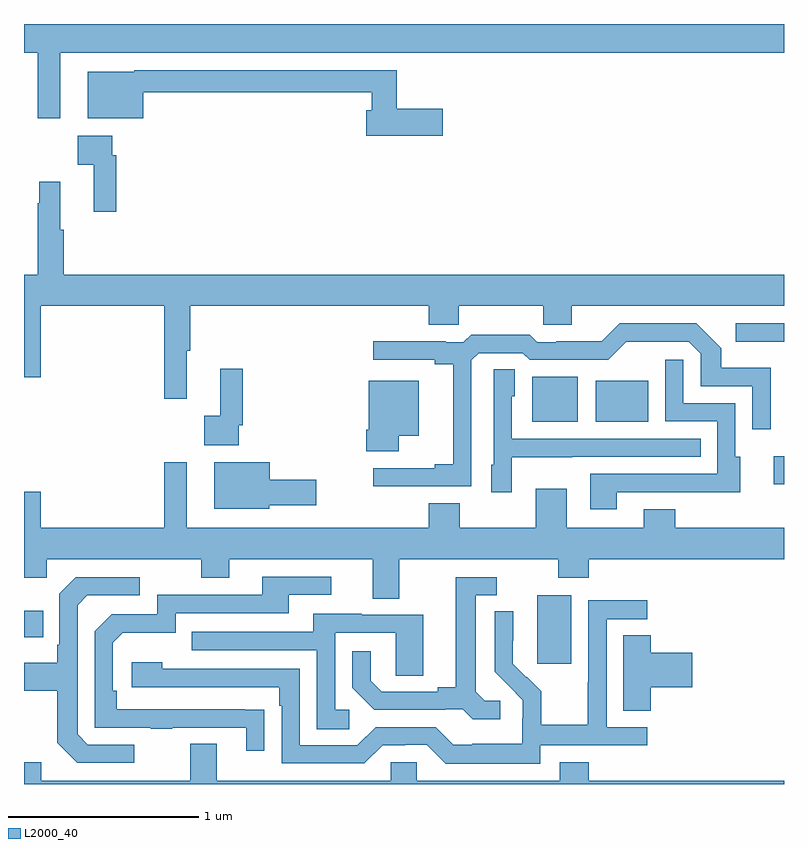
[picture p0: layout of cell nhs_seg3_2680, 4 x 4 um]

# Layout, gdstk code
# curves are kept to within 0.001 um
import gdstk
lib = gdstk.Library(unit=1e-6, precision=1e-09)
def R(c, l, rs):  # rectangles x0, y0, x1, y1
    for r in rs: c.add(gdstk.rectangle(r[:2], r[2:], *l))
def P(c, l, *ps):  # polygons
    for p in ps: c.add(gdstk.Polygon(p, *l))
L2000_40 = (2000, 40)

nhs_seg3_2680 = lib.new_cell('nhs_seg3_2680')
R(nhs_seg3_2680, L2000_40, [(251.702,699.033,251.881,699.394), (249,699.173,249.101,699.313), (252.945,699.978,253,700.126), (251.675,700.307,251.914,700.543), (252.008,700.307,252.286,700.522), (252.747,700.727,253,700.824)])
P(nhs_seg3_2680, L2000_40, [(249.19,702.248),(253,702.248),(253,702.4),(249,702.4),(249,702.248),(249.073,702.248),(249.073,701.904),(249.19,701.904)],
  [(251.203,701.955),(250.961,701.955),(250.961,702.156),(249.579,702.156),(249.579,702.148),(249.335,702.148),(249.335,701.903),(249.628,701.903),(249.628,702.04),(250.829,702.04),(250.829,701.947),(250.802,701.947),(250.802,701.813),(251.203,701.813)],
  [(249.485,701.708),(249.465,701.708),(249.465,701.812),(249.282,701.812),(249.282,701.66),(249.368,701.66),(249.368,701.412),(249.485,701.412)],
  [(249.857,700.68),(249.875,700.68),(249.875,700.916),(251.129,700.916),(251.129,700.818),(251.289,700.818),(251.289,700.916),(251.734,700.916),(251.734,700.818),(251.884,700.818),(251.884,700.916),(253,700.916),(253,701.08),(249.209,701.08),(249.209,701.316),(249.191,701.316),(249.191,701.569),(249.081,701.569),(249.081,701.456),(249.073,701.456),(249.073,701.08),(249,701.08),(249,700.542),(249.088,700.542),(249.088,700.916),(249.739,700.916),(249.739,700.428),(249.857,700.428)],
  [(251.355,700.629),(251.394,700.668),(251.625,700.668),(251.661,700.632),(252.075,700.632),(252.17,700.727),(252.498,700.728),(252.561,700.665),(252.561,700.494),(252.834,700.494),(252.834,700.266),(252.93,700.266),(252.93,700.591),(252.669,700.591),(252.669,700.694),(252.538,700.824),(252.135,700.824),(252.041,700.73),(251.8,700.73),(251.8,700.725),(251.7,700.725),(251.661,700.765),(251.353,700.765),(251.313,700.725),(251.219,700.725),(251.219,700.73),(250.839,700.73),(250.839,700.632),(251.162,700.632),(251.162,700.61),(251.258,700.61),(251.258,700.082),(251.162,700.082),(251.162,700.062),(250.839,700.062),(250.839,699.966),(251.355,699.966)],
  [(252.121,699.936),(252.551,699.936),(252.551,699.935),(252.769,699.935),(252.769,700.122),(252.744,700.122),(252.744,700.404),(252.471,700.404),(252.471,700.633),(252.375,700.633),(252.375,700.308),(252.648,700.308),(252.648,700.032),(251.981,700.032),(251.981,699.846),(252.121,699.846)],
  [(250.131,700.288),(250.151,700.288),(250.151,700.585),(250.034,700.585),(250.034,700.337),(249.948,700.337),(249.948,700.184),(250.131,700.184)],
  [(251.568,700.121),(251.885,700.121),(251.885,700.122),(252.563,700.122),(252.563,700.218),(251.568,700.218),(251.568,700.44),(251.584,700.44),(251.584,700.583),(251.472,700.583),(251.472,700.08),(251.459,700.08),(251.459,699.936),(251.568,699.936)],
  [(250.972,700.232),(251.077,700.232),(251.077,700.522),(250.814,700.522),(250.814,700.264),(250.802,700.264),(250.802,700.152),(250.972,700.152)],
  [(250.975,699.584),(251.812,699.584),(251.812,699.485),(251.972,699.485),(251.972,699.584),(253,699.584),(253,699.748),(252.427,699.748),(252.427,699.847),(252.263,699.847),(252.263,699.748),(251.857,699.748),(251.857,699.955),(251.693,699.955),(251.693,699.748),(251.293,699.748),(251.293,699.877),(251.129,699.877),(251.129,699.748),(249.856,699.748),(249.856,700.093),(249.739,700.093),(249.739,699.748),(249.088,699.748),(249.088,699.937),(249,699.937),(249,699.485),(249.12,699.485),(249.12,699.584),(249.934,699.584),(249.934,699.485),(250.081,699.485),(250.081,699.584),(250.835,699.584),(250.835,699.376),(250.975,699.376)],
  [(250.29,699.866),(250.537,699.866),(250.537,700.001),(250.294,700.001),(250.294,700.093),(250.001,700.093),(250.001,699.848),(250.29,699.848)],
  [(250.265,698.792),(249.488,698.793),(249.488,698.89),(249.468,698.89),(249.468,699.144),(249.521,699.197),(249.798,699.197),(249.798,699.3),(250.393,699.3),(250.393,699.396),(250.618,699.396),(250.618,699.492),(250.253,699.492),(250.253,699.396),(249.702,699.396),(249.702,699.294),(249.462,699.294),(249.372,699.204),(249.372,698.697),(249.667,698.697),(249.667,698.692),(249.779,698.692),(249.779,698.697),(250.169,698.697),(250.169,698.574),(250.265,698.574)],
  [(249.58,698.607),(249.336,698.607),(249.282,698.661),(249.282,699.342),(249.333,699.393),(249.61,699.393),(249.61,699.489),(249.273,699.489),(249.186,699.402),(249.186,699.133),(249.174,699.133),(249.174,699.037),(249,699.037),(249,698.89),(249.174,698.89),(249.174,698.617),(249.279,698.511),(249.58,698.511)],
  [(251.506,698.838),(251.424,698.838),(251.377,698.885),(251.377,699.393),(251.488,699.393),(251.488,699.489),(251.273,699.489),(251.273,698.909),(251.177,698.909),(251.177,698.886),(250.882,698.886),(250.825,698.943),(250.825,699.1),(250.728,699.1),(250.728,698.906),(250.844,698.79),(251.216,698.79),(251.216,698.793),(251.31,698.793),(251.362,698.741),(251.506,698.741)],
  [(251.718,698.604),(252.28,698.604),(252.28,698.7),(252.066,698.7),(252.066,699.267),(252.28,699.267),(252.28,699.366),(251.97,699.366),(251.97,698.936),(251.968,698.936),(251.968,698.713),(251.723,698.713),(251.723,698.887),(251.646,698.964),(251.643,698.961),(251.573,699.032),(251.574,699.308),(251.478,699.308),(251.478,698.99),(251.624,698.842),(251.624,698.745),(251.622,698.745),(251.622,698.611),(251.359,698.611),(251.359,698.607),(251.259,698.607),(251.166,698.7),(250.851,698.7),(250.755,698.604),(250.452,698.604),(250.452,699.006),(249.728,699.006),(249.728,699.04),(249.567,699.04),(249.567,698.91),(250.343,698.91),(250.343,698.813),(250.356,698.813),(250.356,698.508),(250.791,698.508),(250.887,698.604),(251.006,698.604),(251.006,698.607),(251.121,698.607),(251.221,698.507),(251.718,698.507)],
  [(250.711,698.79),(250.638,698.79),(250.638,699.195),(250.956,699.195),(250.956,698.971),(251.101,698.971),(251.101,699.291),(250.777,699.291),(250.777,699.295),(250.523,699.295),(250.523,699.201),(249.883,699.201),(249.883,699.105),(250.542,699.105),(250.542,698.689),(250.711,698.689)],
  [(252.299,698.909),(252.517,698.909),(252.517,699.092),(252.299,699.092),(252.299,699.182),(252.155,699.182),(252.155,698.785),(252.299,698.785)],
  [(253,698.416),(251.972,698.416),(251.972,698.515),(251.819,698.515),(251.819,698.416),(251.067,698.416),(251.067,698.514),(250.929,698.514),(250.929,698.416),(250.015,698.416),(250.015,698.611),(249.875,698.611),(249.875,698.416),(249.091,698.416),(249.091,698.515),(249,698.515),(249,698.4),(253,698.4)])

lib.write_gds('nhs_seg3_2680.gds')
